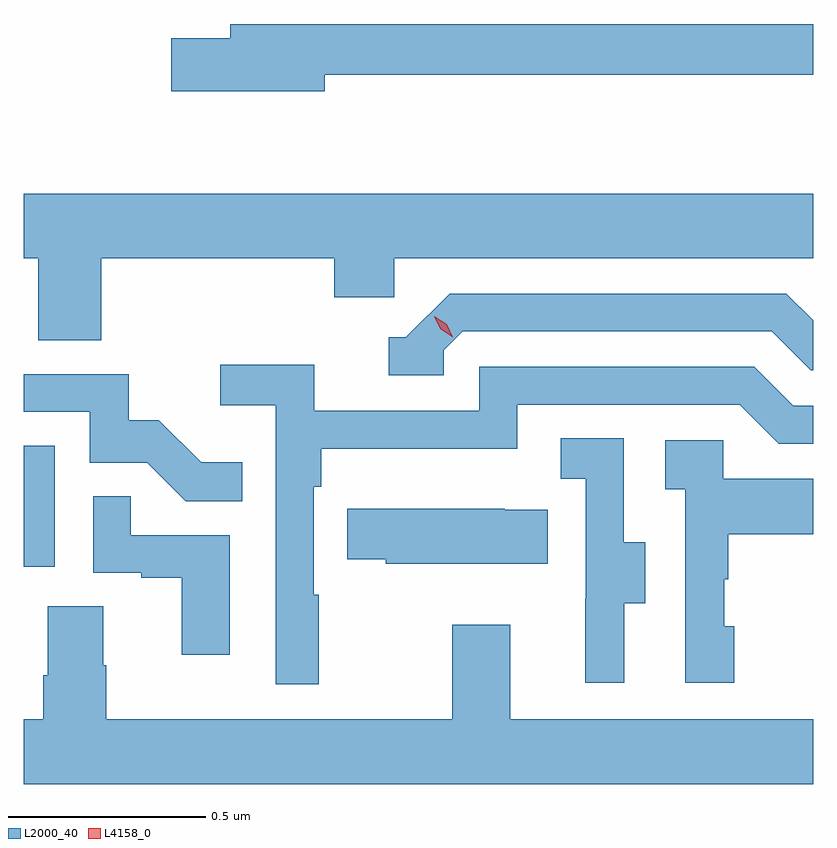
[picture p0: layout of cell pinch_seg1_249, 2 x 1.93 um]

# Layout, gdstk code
import gdstk
lib = gdstk.Library(unit=1e-6, precision=1e-09)
def R(c, l, rs):  # rectangles x0, y0, x1, y1
    for r in rs: c.add(gdstk.rectangle(r[:2], r[2:], *l))
def P(c, l, *ps):  # polygons
    for p in ps: c.add(gdstk.Polygon(p, *l))
L2000_40 = (2000, 40)
L4158_0 = (4158, 0)

pinch_seg1_249 = lib.new_cell('pinch_seg1_249')
R(pinch_seg1_249, L2000_40, [(896.896,564.27,896.974,564.577)])
P(pinch_seg1_249, L2000_40, [(897.658,565.518),(898.896,565.518),(898.896,565.646),(897.419,565.646),(897.419,565.61),(897.27,565.61),(897.27,565.475),(897.658,565.475)],
  [(897.092,565.052),(897.683,565.052),(897.683,564.954),(897.834,564.954),(897.834,565.052),(898.896,565.052),(898.896,565.216),(896.896,565.216),(896.896,565.052),(896.932,565.052),(896.932,564.844),(897.092,564.844)],
  [(897.96,564.819),(898.008,564.867),(898.791,564.867),(898.89,564.768),(898.896,564.768),(898.896,564.895),(898.828,564.963),(897.975,564.963),(897.864,564.852),(897.821,564.852),(897.821,564.756),(897.96,564.756)],
  [(897.643,564.2),(897.63,564.2),(897.63,564.473),(897.65,564.473),(897.65,564.569),(898.146,564.569),(898.146,564.681),(898.71,564.681),(898.809,564.582),(898.896,564.582),(898.896,564.678),(898.846,564.678),(898.747,564.777),(898.05,564.777),(898.05,564.666),(897.632,564.666),(897.632,564.782),(897.393,564.782),(897.393,564.68),(897.534,564.68),(897.534,563.973),(897.643,563.973)],
  [(897.449,564.535),(897.345,564.535),(897.238,564.642),(897.162,564.642),(897.162,564.759),(896.896,564.759),(896.896,564.663),(897.063,564.663),(897.063,564.534),(897.208,564.534),(897.306,564.436),(897.449,564.436)],
  [(898.417,564.178),(898.471,564.178),(898.471,564.333),(898.416,564.333),(898.416,564.596),(898.257,564.596),(898.257,564.493),(898.32,564.493),(898.32,564.189),(898.319,564.189),(898.319,563.976),(898.417,563.976)],
  [(898.696,564.12),(898.671,564.12),(898.671,564.239),(898.681,564.239),(898.681,564.353),(898.896,564.353),(898.896,564.493),(898.668,564.493),(898.668,564.591),(898.521,564.591),(898.521,564.467),(898.572,564.467),(898.572,563.976),(898.696,563.976)],
  [(897.418,564.351),(897.167,564.351),(897.167,564.449),(897.072,564.449),(897.072,564.255),(897.193,564.255),(897.193,564.243),(897.296,564.243),(897.296,564.048),(897.418,564.048)],
  [(898.223,564.415),(898.115,564.415),(898.115,564.418),(897.715,564.418),(897.715,564.289),(897.813,564.289),(897.813,564.278),(898.223,564.278)],
  [(898.896,563.884),(898.129,563.884),(898.129,564.124),(897.982,564.124),(897.982,563.884),(897.105,563.884),(897.105,564.021),(897.097,564.021),(897.097,564.17),(896.957,564.17),(896.957,563.996),(896.945,563.996),(896.945,563.884),(896.896,563.884),(896.896,563.72),(898.896,563.72)])
P(pinch_seg1_249, L4158_0, [(897.983,564.852),(897.952,564.872),(897.936,564.904),(897.936,564.905),(897.936,564.905),(897.967,564.885),(897.983,564.852),(897.983,564.852)])

lib.write_gds('pinch_seg1_249.gds')
